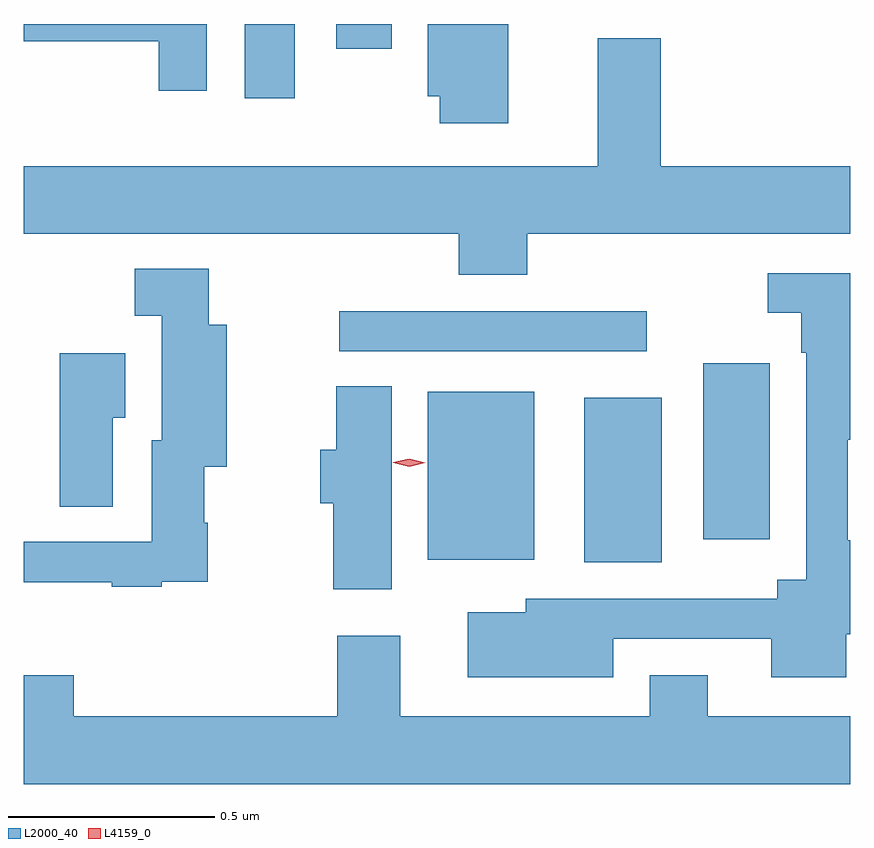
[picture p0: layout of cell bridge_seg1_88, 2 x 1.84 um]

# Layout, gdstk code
import gdstk
lib = gdstk.Library(unit=1e-6, precision=1e-09)
def R(c, l, rs):  # rectangles x0, y0, x1, y1
    for r in rs: c.add(gdstk.rectangle(r[:2], r[2:], *l))
def P(c, l, *ps):  # polygons
    for p in ps: c.add(gdstk.Polygon(p, *l))
L2000_40 = (2000, 40)
L4159_0 = (4159, 0)

bridge_seg1_88 = lib.new_cell('bridge_seg1_88')
R(bridge_seg1_88, L2000_40, [(545.138,520.301,545.326,520.699), (544.76,520.307,545.017,520.714), (545.426,520.356,545.587,520.783), (544.545,520.812,545.29,520.908), (544.316,521.424,544.438,521.604), (544.538,521.544,544.672,521.604)])
P(bridge_seg1_88, L2000_40, [(544.954,521.604),(544.76,521.604),(544.76,521.429),(544.789,521.429),(544.789,521.364),(544.954,521.364)],
  [(544.224,521.604),(543.782,521.604),(543.782,521.562),(544.108,521.562),(544.108,521.442),(544.224,521.442)],
  [(545,521.096),(545.782,521.096),(545.782,521.26),(545.324,521.26),(545.324,521.569),(545.171,521.569),(545.171,521.26),(543.782,521.26),(543.782,521.096),(544.835,521.096),(544.835,520.997),(545,520.997)],
  [(544.115,520.254),(544.227,520.254),(544.227,520.397),(544.219,520.397),(544.219,520.532),(544.273,520.532),(544.273,520.876),(544.229,520.876),(544.229,521.011),(544.05,521.011),(544.05,520.898),(544.115,520.898),(544.115,520.596),(544.091,520.596),(544.091,520.35),(543.782,520.35),(543.782,520.252),(543.995,520.252),(543.995,520.242),(544.115,520.242)],
  [(545.209,520.116),(545.591,520.116),(545.591,520.022),(545.773,520.022),(545.773,520.126),(545.782,520.126),(545.782,520.354),(545.777,520.354),(545.777,520.598),(545.782,520.598),(545.782,521.001),(545.583,521.001),(545.583,520.905),(545.664,520.905),(545.664,520.808),(545.676,520.808),(545.676,520.258),(545.606,520.258),(545.606,520.212),(544.997,520.212),(544.997,520.18),(544.857,520.18),(544.857,520.022),(545.209,520.022)],
  [(543.997,520.651),(544.027,520.651),(544.027,520.807),(543.869,520.807),(543.869,520.435),(543.997,520.435)],
  [(544.672,520.727),(544.538,520.727),(544.538,520.573),(544.499,520.573),(544.499,520.444),(544.531,520.444),(544.531,520.236),(544.672,520.236)],
  [(545.782,519.928),(545.437,519.928),(545.437,520.027),(545.297,520.027),(545.297,519.928),(544.693,519.928),(544.693,520.123),(544.541,520.123),(544.541,519.928),(543.902,519.928),(543.902,520.027),(543.782,520.027),(543.782,519.764),(545.782,519.764)])
P(bridge_seg1_88, L4159_0, [(544.715,520.532),(544.676,520.542),(544.676,520.543),(544.676,520.543),(544.715,520.552),(544.753,520.542),(544.753,520.542),(544.753,520.542)])

lib.write_gds('bridge_seg1_88.gds')
